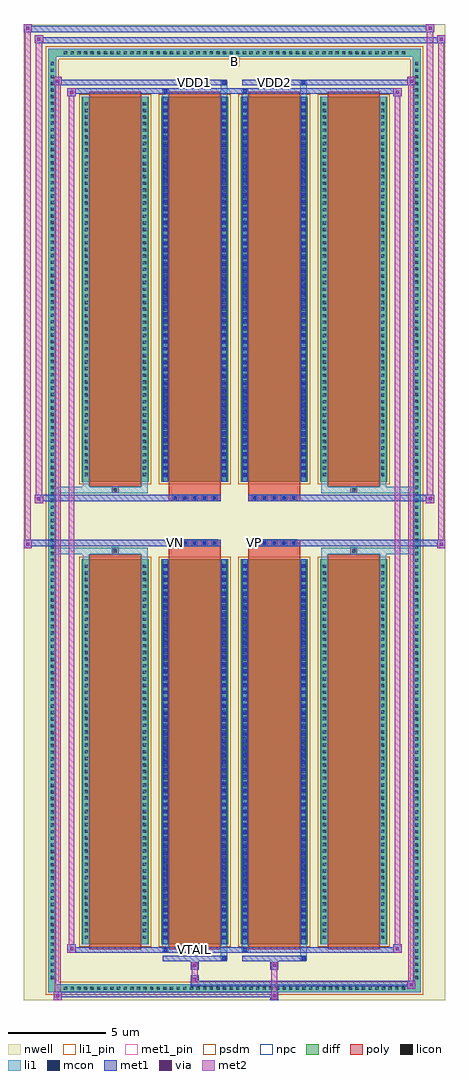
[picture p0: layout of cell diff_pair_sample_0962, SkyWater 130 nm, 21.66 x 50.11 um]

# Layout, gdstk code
import gdstk
lib = gdstk.Library(unit=1e-6, precision=5e-09)
def R(c, l, rs):  # rectangles x0, y0, x1, y1
    for r in rs: c.add(gdstk.rectangle(r[:2], r[2:], *l))
def A(c, l, x, y, w, h, nx, ny, dx, dy):  # array of equal rectangles
    R(c, l, [(x+i*dx, y+j*dy, x+i*dx+w, y+j*dy+h) for i in range(nx) for j in range(ny)])
def P(c, l, *ps):  # polygons
    for p in ps: c.add(gdstk.Polygon(p, *l))
nwell = (64, 20)
diff = (65, 20)
poly = (66, 20)
licon = (66, 44)
li1_pin = (67, 16)
li1 = (67, 20)
mcon = (67, 44)
met1_pin = (68, 16)
met1 = (68, 20)
via = (68, 44)
met2 = (69, 20)
psdm = (94, 20)
npc = (95, 20)

diff_pair_sample_0962 = lib.new_cell('diff_pair_sample_0962')
R(diff_pair_sample_0962, nwell, [(-10.83,-24.62,10.83,25.49), (-8.15,-22.81,-0.01,-0.795), (0.01,-22.81,8.15,-0.795), (-8.15,0.795,-0.01,22.81), (0.01,0.795,8.15,22.81)])
A(diff_pair_sample_0962, diff, -8.875, -24.22, 0.41, 0.41, 52, 2, 0.34, 48.03)
A(diff_pair_sample_0962, diff, -9.56, -23.665, 0.41, 0.41, 1, 139, 0, 0.34)
A(diff_pair_sample_0962, diff, 9.15, -23.665, 0.41, 0.41, 1, 139, 0, 0.34)
A(diff_pair_sample_0962, diff, -7.84, -21.765, 3.44, 19.78, 4, 2, 4.08, 23.75)
R(diff_pair_sample_0962, diff, [(-8.875,-24.22,8.875,-23.81), (-9.56,-23.665,-9.15,23.665), (9.15,-23.665,9.56,23.665), (-8.875,23.81,8.875,24.22)])
P(diff_pair_sample_0962, diff, [(9.56,24.22),(-9.56,24.22),(-9.56,-23.81),(-9.15,-23.81),(-9.15,23.81),(9.15,23.81),(9.15,-23.81),(-9.15,-23.81),(-9.56,-23.81),(-9.56,-24.22),(9.56,-24.22)])
A(diff_pair_sample_0962, poly, -7.45, -22.015, 2.66, 20.28, 4, 2, 4.08, 23.75)
A(diff_pair_sample_0962, poly, -3.205, -1.325, 0.33, 0.33, 5, 2, 0.5, 2.32)
A(diff_pair_sample_0962, poly, 0.875, -1.325, 0.33, 0.33, 5, 2, 0.5, 2.32)
R(diff_pair_sample_0962, poly, [(-6.285,-1.735,-5.955,-1.405), (-6.285,-1.735,-5.955,-1.405), (-3.37,-1.735,-0.71,-1.325), (0.71,-1.735,3.37,-1.325), (5.955,-1.735,6.285,-1.405), (5.955,-1.735,6.285,-1.405), (-3.37,-1.325,-0.71,-0.995), (0.71,-1.325,3.37,-0.995), (-3.37,0.995,-0.71,1.325), (0.71,0.995,3.37,1.325), (-3.37,1.325,-0.71,1.735), (0.71,1.325,3.37,1.735), (-6.285,1.405,-5.955,1.735), (-6.285,1.405,-5.955,1.735), (5.955,1.405,6.285,1.735), (5.955,1.405,6.285,1.735)])
A(diff_pair_sample_0962, licon, -8.755, -24.1, 0.17, 0.17, 52, 2, 0.34, 48.03)
A(diff_pair_sample_0962, licon, -9.44, -23.545, 0.17, 0.17, 1, 139, 0, 0.34)
A(diff_pair_sample_0962, licon, 9.27, -23.545, 0.17, 0.17, 1, 139, 0, 0.34)
A(diff_pair_sample_0962, licon, -7.7, -21.48, 0.17, 0.17, 1, 57, 0, 0.34)
A(diff_pair_sample_0962, licon, -4.71, -21.48, 0.17, 0.17, 1, 57, 0, 0.34)
A(diff_pair_sample_0962, licon, -3.62, -21.48, 0.17, 0.17, 1, 57, 0, 0.34)
A(diff_pair_sample_0962, licon, -0.63, -21.48, 0.17, 0.17, 1, 57, 0, 0.34)
A(diff_pair_sample_0962, licon, 0.46, -21.48, 0.17, 0.17, 1, 57, 0, 0.34)
A(diff_pair_sample_0962, licon, 3.45, -21.48, 0.17, 0.17, 1, 57, 0, 0.34)
A(diff_pair_sample_0962, licon, 4.54, -21.48, 0.17, 0.17, 1, 57, 0, 0.34)
A(diff_pair_sample_0962, licon, 7.53, -21.48, 0.17, 0.17, 1, 57, 0, 0.34)
A(diff_pair_sample_0962, licon, -3.125, -1.245, 0.17, 0.17, 5, 2, 0.5, 2.32)
A(diff_pair_sample_0962, licon, 0.955, -1.245, 0.17, 0.17, 5, 2, 0.5, 2.32)
A(diff_pair_sample_0962, licon, -7.7, 2.27, 0.17, 0.17, 1, 57, 0, 0.34)
A(diff_pair_sample_0962, licon, -4.71, 2.27, 0.17, 0.17, 1, 57, 0, 0.34)
A(diff_pair_sample_0962, licon, -3.62, 2.27, 0.17, 0.17, 1, 57, 0, 0.34)
A(diff_pair_sample_0962, licon, -0.63, 2.27, 0.17, 0.17, 1, 57, 0, 0.34)
A(diff_pair_sample_0962, licon, 0.46, 2.27, 0.17, 0.17, 1, 57, 0, 0.34)
A(diff_pair_sample_0962, licon, 3.45, 2.27, 0.17, 0.17, 1, 57, 0, 0.34)
A(diff_pair_sample_0962, licon, 4.54, 2.27, 0.17, 0.17, 1, 57, 0, 0.34)
A(diff_pair_sample_0962, licon, 7.53, 2.27, 0.17, 0.17, 1, 57, 0, 0.34)
R(diff_pair_sample_0962, licon, [(-6.205,-1.655,-6.035,-1.485), (6.035,-1.655,6.205,-1.485), (-6.205,1.485,-6.035,1.655), (6.035,1.485,6.205,1.655)])
R(diff_pair_sample_0962, li1_pin, [(-0.25,23.31,0.25,23.81)])
A(diff_pair_sample_0962, li1, -8.835, -24.18, 0.33, 0.33, 52, 2, 0.34, 48.03)
A(diff_pair_sample_0962, li1, -9.52, -23.625, 0.33, 0.33, 1, 139, 0, 0.34)
A(diff_pair_sample_0962, li1, 9.19, -23.625, 0.33, 0.33, 1, 139, 0, 0.34)
A(diff_pair_sample_0962, li1, -7.78, -21.56, 0.33, 0.33, 1, 57, 0, 0.34)
A(diff_pair_sample_0962, li1, -4.79, -21.56, 0.33, 0.33, 1, 57, 0, 0.34)
A(diff_pair_sample_0962, li1, -3.7, -21.56, 0.33, 0.33, 1, 57, 0, 0.34)
A(diff_pair_sample_0962, li1, -0.71, -21.56, 0.33, 0.33, 1, 57, 0, 0.34)
A(diff_pair_sample_0962, li1, 0.38, -21.56, 0.33, 0.33, 1, 57, 0, 0.34)
A(diff_pair_sample_0962, li1, 3.37, -21.56, 0.33, 0.33, 1, 57, 0, 0.34)
A(diff_pair_sample_0962, li1, 4.46, -21.56, 0.33, 0.33, 1, 57, 0, 0.34)
A(diff_pair_sample_0962, li1, 7.45, -21.56, 0.33, 0.33, 1, 57, 0, 0.34)
A(diff_pair_sample_0962, li1, -3.62, -21.5, 0.17, 0.17, 1, 54, 0, 0.36)
A(diff_pair_sample_0962, li1, -0.63, -21.5, 0.17, 0.17, 1, 54, 0, 0.36)
A(diff_pair_sample_0962, li1, 0.46, -21.5, 0.17, 0.17, 1, 54, 0, 0.36)
A(diff_pair_sample_0962, li1, 3.45, -21.5, 0.17, 0.17, 1, 54, 0, 0.36)
A(diff_pair_sample_0962, li1, -3.205, -1.325, 0.33, 0.33, 5, 2, 0.5, 2.32)
A(diff_pair_sample_0962, li1, 0.875, -1.325, 0.33, 0.33, 5, 2, 0.5, 2.32)
A(diff_pair_sample_0962, li1, -7.78, 2.19, 0.33, 0.33, 1, 57, 0, 0.34)
A(diff_pair_sample_0962, li1, -4.79, 2.19, 0.33, 0.33, 1, 57, 0, 0.34)
A(diff_pair_sample_0962, li1, -3.7, 2.19, 0.33, 0.33, 1, 57, 0, 0.34)
A(diff_pair_sample_0962, li1, -0.71, 2.19, 0.33, 0.33, 1, 57, 0, 0.34)
A(diff_pair_sample_0962, li1, 0.38, 2.19, 0.33, 0.33, 1, 57, 0, 0.34)
A(diff_pair_sample_0962, li1, 3.37, 2.19, 0.33, 0.33, 1, 57, 0, 0.34)
A(diff_pair_sample_0962, li1, 4.46, 2.19, 0.33, 0.33, 1, 57, 0, 0.34)
A(diff_pair_sample_0962, li1, 7.45, 2.19, 0.33, 0.33, 1, 57, 0, 0.34)
A(diff_pair_sample_0962, li1, -3.62, 2.25, 0.17, 0.17, 1, 54, 0, 0.36)
A(diff_pair_sample_0962, li1, -0.63, 2.25, 0.17, 0.17, 1, 54, 0, 0.36)
A(diff_pair_sample_0962, li1, 0.46, 2.25, 0.17, 0.17, 1, 54, 0, 0.36)
A(diff_pair_sample_0962, li1, 3.45, 2.25, 0.17, 0.17, 1, 54, 0, 0.36)
R(diff_pair_sample_0962, li1, [(-9.56,-24.22,-9.15,-23.81), (-9.56,-24.22,-9.15,-23.81), (-9.15,-24.22,9.15,-23.81), (9.15,-24.22,9.56,-23.81), (9.15,-24.22,9.56,-23.81), (-9.56,-23.81,-9.15,23.81), (9.15,-23.81,9.56,23.81), (-0.71,-22.57,-0.38,-21.765), (-0.63,-22.57,-0.46,-22.4), (3.37,-22.57,3.7,-21.765), (3.45,-22.57,3.62,-22.4), (-3.7,-22.14,-3.37,-21.765), (-3.62,-22.14,-3.45,-21.97), (0.38,-22.14,0.71,-21.765), (0.46,-22.14,0.63,-21.97), (-7.78,-21.765,-7.45,-1.985), (-4.79,-21.765,-4.46,-1.985), (-3.7,-21.765,-3.37,-1.985), (-0.71,-21.765,-0.38,-1.985), (0.38,-21.765,0.71,-1.985), (3.37,-21.765,3.7,-1.985), (4.46,-21.765,4.79,-1.985), (7.45,-21.765,7.78,-1.985), (-3.62,-21.5,-3.45,-2.25), (-0.63,-21.5,-0.46,-2.25), (0.46,-21.5,0.63,-2.25), (3.45,-21.5,3.62,-2.25), (-7.78,-1.985,-7.45,-1.405), (-4.79,-1.985,-4.46,-1.405), (4.46,-1.985,4.79,-1.405), (7.45,-1.985,7.78,-1.405), (-9.56,-1.735,-6.285,-1.405), (-7.78,-1.735,-6.285,-1.405), (-6.285,-1.735,-5.955,-1.405), (-5.955,-1.735,-4.46,-1.405), (4.46,-1.735,5.955,-1.405), (5.955,-1.735,6.285,-1.405), (5.955,-1.735,9.56,-1.405), (6.285,-1.735,7.78,-1.405), (-9.56,1.405,-6.285,1.735), (-7.78,1.405,-6.285,1.735), (-7.78,1.405,-7.45,1.985), (-6.285,1.405,-5.955,1.735), (-5.955,1.405,-4.46,1.735), (-4.79,1.405,-4.46,1.985), (4.46,1.405,5.955,1.735), (4.46,1.405,4.79,1.985), (5.955,1.405,6.285,1.735), (5.955,1.405,9.56,1.735), (6.285,1.405,7.78,1.735), (7.45,1.405,7.78,1.985), (-7.78,1.985,-7.45,21.765), (-4.79,1.985,-4.46,21.765), (-3.7,1.985,-3.37,21.765), (-0.71,1.985,-0.38,21.765), (0.38,1.985,0.71,21.765), (3.37,1.985,3.7,21.765), (4.46,1.985,4.79,21.765), (7.45,1.985,7.78,21.765), (-3.62,2.25,-3.45,21.5), (-0.63,2.25,-0.46,21.5), (0.46,2.25,0.63,21.5), (3.45,2.25,3.62,21.5), (-3.7,21.765,-3.37,22.14), (-0.71,21.765,-0.38,22.57), (0.38,21.765,0.71,22.14), (3.37,21.765,3.7,22.57), (-3.62,21.97,-3.45,22.14), (0.46,21.97,0.63,22.14), (-0.63,22.4,-0.46,22.57), (3.45,22.4,3.62,22.57), (-9.56,23.81,-9.15,24.22), (-9.56,23.81,-9.15,24.22), (-9.15,23.81,9.15,24.22), (9.15,23.81,9.56,24.22), (9.15,23.81,9.56,24.22)])
A(diff_pair_sample_0962, mcon, -3.62, -21.5, 0.17, 0.17, 1, 54, 0, 0.36)
A(diff_pair_sample_0962, mcon, -0.63, -21.5, 0.17, 0.17, 1, 54, 0, 0.36)
A(diff_pair_sample_0962, mcon, 0.46, -21.5, 0.17, 0.17, 1, 54, 0, 0.36)
A(diff_pair_sample_0962, mcon, 3.45, -21.5, 0.17, 0.17, 1, 54, 0, 0.36)
A(diff_pair_sample_0962, mcon, -3.125, -1.245, 0.17, 0.17, 5, 2, 0.5, 2.32)
A(diff_pair_sample_0962, mcon, 0.955, -1.245, 0.17, 0.17, 5, 2, 0.5, 2.32)
A(diff_pair_sample_0962, mcon, -3.62, 2.25, 0.17, 0.17, 1, 54, 0, 0.36)
A(diff_pair_sample_0962, mcon, -0.63, 2.25, 0.17, 0.17, 1, 54, 0, 0.36)
A(diff_pair_sample_0962, mcon, 0.46, 2.25, 0.17, 0.17, 1, 54, 0, 0.36)
A(diff_pair_sample_0962, mcon, 3.45, 2.25, 0.17, 0.17, 1, 54, 0, 0.36)
R(diff_pair_sample_0962, mcon, [(-0.63,-22.57,-0.46,-22.4), (3.45,-22.57,3.62,-22.4), (-3.62,-22.14,-3.45,-21.97), (0.46,-22.14,0.63,-21.97), (-3.62,21.97,-3.45,22.14), (0.46,21.97,0.63,22.14), (-0.63,22.4,-0.46,22.57), (3.45,22.4,3.62,22.57)])
R(diff_pair_sample_0962, met1_pin, [(-2.175,-22.18,-1.905,-21.91), (-3.175,-1.285,-2.905,-1.015), (0.905,-1.285,1.175,-1.015), (-2.175,22.36,-1.905,22.63), (1.905,22.36,2.175,22.63)])
A(diff_pair_sample_0962, met1, -3.68, -21.56, 0.29, 0.29, 1, 54, 0, 0.36)
A(diff_pair_sample_0962, met1, -0.69, -21.56, 0.29, 0.29, 1, 54, 0, 0.36)
A(diff_pair_sample_0962, met1, 0.4, -21.56, 0.29, 0.29, 1, 54, 0, 0.36)
A(diff_pair_sample_0962, met1, 3.39, -21.56, 0.29, 0.29, 1, 54, 0, 0.36)
A(diff_pair_sample_0962, met1, -3.185, -1.305, 0.29, 0.29, 5, 2, 0.5, 2.32)
A(diff_pair_sample_0962, met1, 0.895, -1.305, 0.29, 0.29, 5, 2, 0.5, 2.32)
A(diff_pair_sample_0962, met1, -3.68, 2.19, 0.29, 0.29, 1, 54, 0, 0.36)
A(diff_pair_sample_0962, met1, -0.69, 2.19, 0.29, 0.29, 1, 54, 0, 0.36)
A(diff_pair_sample_0962, met1, 0.4, 2.19, 0.29, 0.29, 1, 54, 0, 0.36)
A(diff_pair_sample_0962, met1, 3.39, 2.19, 0.29, 0.29, 1, 54, 0, 0.36)
R(diff_pair_sample_0962, met1, [(-9.29,-24.62,-8.86,-24.19), (1.825,-24.62,2.255,-24.19), (-9.29,-24.48,2.255,-24.19), (8.86,-24.05,9.29,-23.62), (-2.255,-23.91,9.29,-23.62), (-2.255,-23.77,-1.825,-23.34), (-2.255,-23.06,-1.825,-22.63), (1.825,-23.06,2.255,-22.63), (-3.68,-22.63,-0.4,-22.34), (-0.69,-22.63,-0.4,-22.34), (0.4,-22.63,3.68,-22.34), (3.39,-22.63,3.68,-22.34), (-8.58,-22.2,-8.15,-21.77), (-8.58,-22.2,-3.68,-21.91), (-3.68,-22.2,-3.39,-21.91), (-3.68,-22.2,-0.4,-21.91), (-0.4,-22.2,0.4,-21.91), (0.4,-22.2,0.69,-21.91), (0.4,-22.2,3.68,-21.91), (3.68,-22.2,8.58,-21.91), (8.15,-22.2,8.58,-21.77), (-3.68,-21.765,-3.39,-1.985), (-0.69,-21.765,-0.4,-1.985), (0.4,-21.765,0.69,-1.985), (3.39,-21.765,3.68,-1.985), (-10.83,-1.425,-10.4,-0.995), (10.4,-1.425,10.83,-0.995), (-10.83,-1.325,-0.71,-0.995), (-3.37,-1.325,-0.71,-0.995), (0.71,-1.325,3.37,-0.995), (0.71,-1.325,10.83,-0.995), (-10.26,0.895,-9.83,1.325), (9.83,0.895,10.26,1.325), (-10.26,0.995,-3.37,1.325), (-3.37,0.995,-0.71,1.325), (0.71,0.995,3.37,1.325), (3.37,0.995,10.26,1.325), (-3.68,1.985,-3.39,21.765), (-0.69,1.985,-0.4,21.765), (0.4,1.985,0.69,21.765), (3.39,1.985,3.68,21.765), (-8.58,21.77,-8.15,22.2), (8.15,21.77,8.58,22.2), (-8.58,21.91,-3.68,22.2), (-3.68,21.91,-3.39,22.2), (-3.68,21.91,-0.4,22.2), (-0.4,21.91,0.4,22.2), (0.4,21.91,0.69,22.2), (0.4,21.91,3.68,22.2), (3.68,21.91,8.58,22.2), (-9.29,22.34,-8.86,22.77), (-9.29,22.34,-3.68,22.63), (-3.68,22.34,-0.4,22.63), (-0.69,22.34,-0.4,22.63), (0.4,22.34,3.68,22.63), (3.39,22.34,3.68,22.63), (3.68,22.34,9.29,22.63), (8.86,22.34,9.29,22.77), (-10.26,24.49,-9.83,24.92), (-10.26,24.49,-8.15,24.82), (-8.15,24.49,8.15,24.82), (8.15,24.49,10.83,24.82), (10.4,24.49,10.83,24.92), (-10.83,25.06,-10.4,25.49), (-10.83,25.06,-8.15,25.39), (-8.15,25.06,8.15,25.39), (8.15,25.06,10.26,25.39), (9.83,25.06,10.26,25.49)])
R(diff_pair_sample_0962, via, [(-9.15,-24.48,-9,-24.33), (1.965,-24.48,2.115,-24.33), (9,-23.91,9.15,-23.76), (-2.115,-23.63,-1.965,-23.48), (-2.115,-22.92,-1.965,-22.77), (1.965,-22.92,2.115,-22.77), (-8.44,-22.06,-8.29,-21.91), (8.29,-22.06,8.44,-21.91), (-10.69,-1.285,-10.54,-1.135), (10.54,-1.285,10.69,-1.135), (-10.12,1.035,-9.97,1.185), (9.97,1.035,10.12,1.185), (-8.44,21.91,-8.29,22.06), (8.29,21.91,8.44,22.06), (-9.15,22.48,-9,22.63), (9,22.48,9.15,22.63), (-10.12,24.63,-9.97,24.78), (10.54,24.63,10.69,24.78), (-10.69,25.2,-10.54,25.35), (9.97,25.2,10.12,25.35)])
R(diff_pair_sample_0962, met2, [(-9.29,-24.62,-8.86,-24.19), (-9.22,-24.62,-8.93,22.77), (-8.93,-24.62,-8.86,-24.19), (-9.24,-24.57,-8.91,-24.24), (1.875,-24.57,2.205,-24.24), (1.875,-24.24,2.205,-23.01), (8.86,-24.05,9.29,-23.62), (8.93,-24.05,9.22,22.77), (9.22,-24.05,9.29,-23.62), (8.91,-24,9.24,-23.67), (-2.205,-23.72,-1.875,-23.39), (-2.205,-23.39,-1.875,-23.01), (-2.205,-23.01,-1.875,-22.68), (1.875,-23.01,2.205,-22.68), (-8.58,-22.2,-8.15,-21.77), (-8.51,-22.2,-8.22,22.2), (-8.22,-22.2,-8.15,-21.77), (8.15,-22.2,8.58,-21.77), (8.22,-22.2,8.51,22.2), (8.51,-22.2,8.58,-21.77), (-8.53,-22.15,-8.2,-21.82), (8.2,-22.15,8.53,-21.82), (-10.83,-1.425,-10.4,-0.995), (-10.78,-1.425,-10.45,25.49), (-10.45,-1.425,-10.4,-0.995), (10.4,-1.425,10.83,-0.995), (10.45,-1.425,10.78,24.92), (10.78,-1.425,10.83,-0.995), (-10.78,-1.375,-10.45,-1.045), (10.45,-1.375,10.78,-1.045), (-10.26,0.895,-9.83,1.325), (-10.21,0.895,-9.88,24.92), (-9.88,0.895,-9.83,1.325), (9.83,0.895,10.26,1.325), (9.88,0.895,10.21,25.49), (10.21,0.895,10.26,1.325), (-10.21,0.945,-9.88,1.275), (9.88,0.945,10.21,1.275), (-8.58,21.77,-8.15,22.2), (-8.22,21.77,-8.15,22.2), (8.15,21.77,8.58,22.2), (8.51,21.77,8.58,22.2), (-8.53,21.82,-8.2,22.15), (8.2,21.82,8.53,22.15), (-9.29,22.34,-8.86,22.77), (-8.93,22.34,-8.86,22.77), (8.86,22.34,9.29,22.77), (9.22,22.34,9.29,22.77), (-9.24,22.39,-8.91,22.72), (8.91,22.39,9.24,22.72), (-10.26,24.49,-9.83,24.92), (-9.88,24.49,-9.83,24.92), (10.4,24.49,10.83,24.92), (10.78,24.49,10.83,24.92), (-10.21,24.54,-9.88,24.87), (10.45,24.54,10.78,24.87), (-10.83,25.06,-10.4,25.49), (-10.45,25.06,-10.4,25.49), (9.83,25.06,10.26,25.49), (10.21,25.06,10.26,25.49), (-10.78,25.11,-10.45,25.44), (9.88,25.11,10.21,25.44)])
A(diff_pair_sample_0962, psdm, -7.97, -21.895, 3.7, 20.04, 4, 2, 4.08, 23.75)
P(diff_pair_sample_0962, psdm, [(9.69,24.35),(-9.69,24.35),(-9.69,-23.68),(-9.02,-23.68),(-9.02,23.68),(9.02,23.68),(9.02,-23.68),(-9.02,-23.68),(-9.69,-23.68),(-9.69,-24.35),(9.69,-24.35)])
A(diff_pair_sample_0962, npc, -3.225, -1.345, 0.37, 0.37, 5, 2, 0.5, 2.32)
A(diff_pair_sample_0962, npc, 0.855, -1.345, 0.37, 0.37, 5, 2, 0.5, 2.32)
R(diff_pair_sample_0962, npc, [(-6.305,-1.755,-5.935,-1.385), (5.935,-1.755,6.305,-1.385), (-3.225,-1.345,-2.355,-0.975), (-3.225,-1.345,-2.355,-0.975), (-2.725,-1.345,-1.855,-0.975), (-2.725,-1.345,-1.855,-0.975), (-2.225,-1.345,-1.355,-0.975), (-2.225,-1.345,-1.355,-0.975), (-1.725,-1.345,-0.855,-0.975), (-1.725,-1.345,-0.855,-0.975), (0.855,-1.345,1.725,-0.975), (0.855,-1.345,1.725,-0.975), (1.355,-1.345,2.225,-0.975), (1.355,-1.345,2.225,-0.975), (1.855,-1.345,2.725,-0.975), (1.855,-1.345,2.725,-0.975), (2.355,-1.345,3.225,-0.975), (2.355,-1.345,3.225,-0.975), (-3.225,0.975,-2.355,1.345), (-3.225,0.975,-2.355,1.345), (-2.725,0.975,-1.855,1.345), (-2.725,0.975,-1.855,1.345), (-2.225,0.975,-1.355,1.345), (-2.225,0.975,-1.355,1.345), (-1.725,0.975,-0.855,1.345), (-1.725,0.975,-0.855,1.345), (0.855,0.975,1.725,1.345), (0.855,0.975,1.725,1.345), (1.355,0.975,2.225,1.345), (1.355,0.975,2.225,1.345), (1.855,0.975,2.725,1.345), (1.855,0.975,2.725,1.345), (2.355,0.975,3.225,1.345), (2.355,0.975,3.225,1.345), (-6.305,1.385,-5.935,1.755), (5.935,1.385,6.305,1.755)])
diff_pair_sample_0962.add(gdstk.Label('VTAIL', (-2.04,-22.045), layer=68, texttype=5))
diff_pair_sample_0962.add(gdstk.Label('VN', (-3.04,-1.15), layer=68, texttype=5))
diff_pair_sample_0962.add(gdstk.Label('VP', (1.04,-1.15), layer=68, texttype=5))
diff_pair_sample_0962.add(gdstk.Label('B', (0,23.56), layer=67, texttype=5))
diff_pair_sample_0962.add(gdstk.Label('VDD2', (2.04,22.495), layer=68, texttype=5))
diff_pair_sample_0962.add(gdstk.Label('VDD1', (-2.04,22.495), layer=68, texttype=5))

lib.write_gds('diff_pair_sample_0962.gds')
